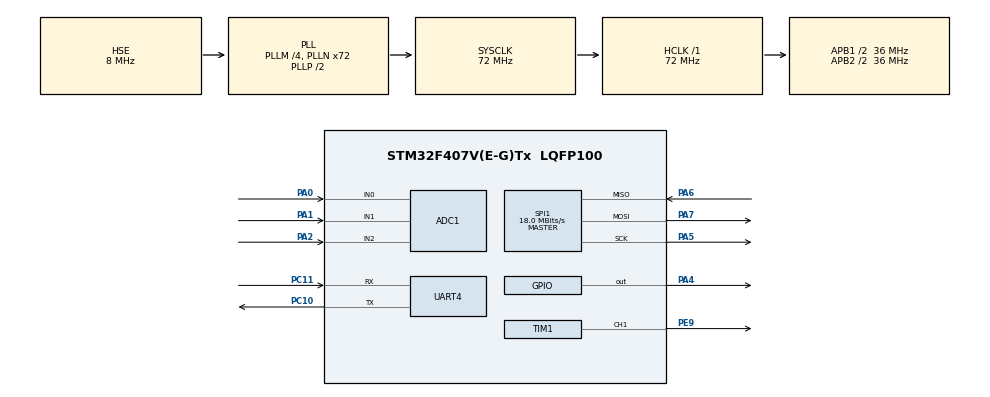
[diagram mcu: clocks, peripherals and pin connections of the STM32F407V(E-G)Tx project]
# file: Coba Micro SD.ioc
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ADC1.Channel-0\#ChannelRegularConversion=ADC_CHANNEL_0
ADC1.Channel-1\#ChannelRegularConversion=ADC_CHANNEL_1
ADC1.Channel-2\#ChannelRegularConversion=ADC_CHANNEL_2
ADC1.ClockPrescaler=ADC_CLOCK_SYNC_PCLK_DIV4
ADC1.ContinuousConvMode=ENABLE
ADC1.DMAContinuousRequests=ENABLE
ADC1.NbrOfConversion=3
ADC1.NbrOfConversionFlag=1
ADC1.Rank-0\#ChannelRegularConversion=1
ADC1.Rank-1\#ChannelRegularConversion=2
ADC1.Rank-2\#ChannelRegularConversion=3
ADC1.SamplingTime-0\#ChannelRegularConversion=ADC_SAMPLETIME_480CYCLES
ADC1.SamplingTime-1\#ChannelRegularConversion=ADC_SAMPLETIME_480CYCLES
ADC1.SamplingTime-2\#ChannelRegularConversion=ADC_SAMPLETIME_480CYCLES
ADC1.ScanConvMode=ENABLE
ADC1.master=1
Dma.ADC1.0.Direction=DMA_PERIPH_TO_MEMORY
Dma.ADC1.0.FIFOMode=DMA_FIFOMODE_DISABLE
Dma.ADC1.0.Instance=DMA2_Stream0
Dma.ADC1.0.MemDataAlignment=DMA_MDATAALIGN_WORD
Dma.ADC1.0.MemInc=DMA_MINC_ENABLE
Dma.ADC1.0.Mode=DMA_CIRCULAR
Dma.ADC1.0.PeriphDataAlignment=DMA_PDATAALIGN_WORD
Dma.ADC1.0.PeriphInc=DMA_PINC_DISABLE
Dma.ADC1.0.Priority=DMA_PRIORITY_LOW
Dma.Request0=ADC1
Mcu.Family=STM32F4
Mcu.Name=STM32F407V(E-G)Tx
Mcu.Package=LQFP100
NVIC.DMA2_Stream0_IRQn=true\:0\:0\:false\:false\:true\:false\:true
NVIC.PriorityGroup=NVIC_PRIORITYGROUP_4
PA0-WKUP.Signal=ADCx_IN0
PA1.Signal=ADCx_IN1
PA13.Mode=Serial_Wire
PA13.Signal=SYS_JTMS-SWDIO
PA14.Mode=Serial_Wire
PA14.Signal=SYS_JTCK-SWCLK
PA2.Signal=ADCx_IN2
PA4.GPIO_PuPd=GPIO_PULLUP
PA4.Signal=GPIO_Output
PA5.GPIO_PuPd=GPIO_PULLUP
PA5.Mode=Full_Duplex_Master
PA5.Signal=SPI1_SCK
PA6.GPIO_PuPd=GPIO_PULLUP
PA6.Mode=Full_Duplex_Master
PA6.Signal=SPI1_MISO
PA7.GPIO_PuPd=GPIO_PULLUP
PA7.Mode=Full_Duplex_Master
PA7.Signal=SPI1_MOSI
PC10.Mode=Asynchronous
PC10.Signal=UART4_TX
PC11.Mode=Asynchronous
PC11.Signal=UART4_RX
PE9.Signal=S_TIM1_CH1
PH0-OSC_IN.Mode=HSE-External-Oscillator
PH0-OSC_IN.Signal=RCC_OSC_IN
PH1-OSC_OUT.Mode=HSE-External-Oscillator
PH1-OSC_OUT.Signal=RCC_OSC_OUT
ProjectManager.HeapSize=0x200
ProjectManager.StackSize=0x400
ProjectManager.TargetToolchain=STM32CubeIDE
RCC.48MHZClocksFreq_Value=36000000
RCC.AHBFreq_Value=72000000
RCC.APB1CLKDivider=RCC_HCLK_DIV2
RCC.APB1Freq_Value=36000000
RCC.APB1TimFreq_Value=72000000
RCC.APB2CLKDivider=RCC_HCLK_DIV2
RCC.APB2Freq_Value=36000000
RCC.APB2TimFreq_Value=72000000
RCC.CortexFreq_Value=72000000
RCC.HCLKFreq_Value=72000000
RCC.HSE_VALUE=8000000
RCC.HSI_VALUE=16000000
RCC.LSE_VALUE=32768
RCC.PLLM=4
RCC.PLLN=72
RCC.PLLSourceVirtual=RCC_PLLSOURCE_HSE
RCC.SYSCLKFreq_VALUE=72000000
RCC.SYSCLKSource=RCC_SYSCLKSOURCE_PLLCLK
RCC.VCOOutputFreq_Value=144000000
SH.ADCx_IN0.0=ADC1_IN0,IN0
SH.ADCx_IN1.0=ADC1_IN1,IN1
SH.ADCx_IN2.0=ADC1_IN2,IN2
SH.S_TIM1_CH1.0=TIM1_CH1,PWM Generation1 CH1
SPI1.CalculateBaudRate=18.0 MBits/s
SPI1.Direction=SPI_DIRECTION_2LINES
SPI1.Mode=SPI_MODE_MASTER
SPI1.VirtualType=VM_MASTER
TIM1.Channel-PWM\ Generation1\ CH1=TIM_CHANNEL_1
TIM1.Period=999
TIM1.Prescaler=71
TIM1.RepetitionCounter=3
UART4.VirtualMode=Asynchronous
VP_FATFS_VS_Generic.Mode=User_defined
VP_TIM1_VS_ClockSourceINT.Mode=Internal
board=custom

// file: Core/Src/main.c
/* USER CODE BEGIN Header */
/**
  ******************************************************************************
  * @file           : main.c
  * @brief          : Main program body
  ******************************************************************************
  * @attention
  *
  * Copyright (c) 2023 STMicroelectronics.
  * All rights reserved.
  *
  * This software is licensed under terms that can be found in the LICENSE file
  * in the root directory of this software component.
  * If no LICENSE file comes with this software, it is provided AS-IS.
  *
  ******************************************************************************
  */
/* USER CODE END Header */
#include "main.h"
#include "adc.h"
#include "dma.h"
#include "fatfs.h"
#include "spi.h"
#include "tim.h"
#include "usart.h"
#include "gpio.h"

/* USER CODE BEGIN Includes */
#include "stm32f4xx_hal.h"
#include <stdio.h>
#include <string.h>
#include <stdarg.h> //for va_list var arg functions
/* USER CODE END Includes */

/* USER CODE BEGIN PV */
char buffer[100];
uint32_t my_adc[3];
float my_adc_1, my_adc_2, my_adc_3;
/* USER CODE END PV */

void SystemClock_Config(void);
/* USER CODE BEGIN PFP */
void myprintf(const char *fmt, ...);
/* USER CODE END PFP */

/* USER CODE BEGIN 0 */
int value1, value2, DAC_OUT;
float Vout=0.00;
uint32_t startTime, lastTime, diffTime;
//char *stringku[12];

/* USER CODE END 0 */

int main(void)
{
  /* USER CODE BEGIN 1 */
	FATFS FatFs; //Fatfs object
	FIL fil; //File object
  /* USER CODE END 1 */

  /* MCU Configuration--------------------------------------------------------*/

  /* Reset of all peripherals, Initializes the Flash interface and the Systick. */
  HAL_Init();

  /* Configure the system clock */
  SystemClock_Config();

  /* Initialize all configured peripherals */
  MX_GPIO_Init();
  MX_SPI1_Init();
  MX_FATFS_Init();
  MX_UART4_Init();
  MX_TIM1_Init();
  MX_ADC1_Init();
  MX_DMA_Init();
  /* USER CODE BEGIN 2 */
  HAL_ADC_Start_DMA(&hadc1, my_adc, 3);

  HAL_TIM_PWM_Start(&htim1, TIM_CHANNEL_1);

//  https://github.com/kiwih/cubemx-mmc-sd-card/blob/master/Src/main.c
	myprintf("\r\n\r\n(Powering up)\r\nMary had a little lamb --\r\nI ate it with mint sauce.\r\n\r\n");
//	HAL_Delay(1000);
	FRESULT fres;

	//Mount drive
	fres = f_mount(&FatFs, "", 1); //1=mount now
	myprintf("stat = (%i)\r\n",fres);
	if (fres != FR_OK) {
	myprintf("f_mount error (%i)\r\n", fres);
//	while(1);
	}
	else{
	myprintf("SD CARD mounted successfully...\n\n");
	}
	//

	/* Check free space */
	DWORD free_clusters, free_sectors, total_sectors;
	FATFS* getFreeFs;
	fres = f_getfree("", &free_clusters, &getFreeFs);

	if (fres != FR_OK) {
	myprintf("f_getfree error (%i)\r\n", fres);
//	while(1);
	}
	else{
	total_sectors = (getFreeFs->n_fatent - 2) * getFreeFs->csize;
	free_sectors = free_clusters * getFreeFs->csize;

	myprintf("SD card stats:\r\n%10lu KiB total drive space.\r\n%10lu KiB available.\r\n", total_sectors / 2, free_sectors / 2);
	}

	//Try to open file
	fres = f_open(&fil, "test.txt", FA_READ);
	if (fres != FR_OK) {
	myprintf("f_open error (%i)\r\n");
//	while(1);
	}
	else{
	myprintf("I was able to open 'test.txt' for reading!\r\n");
	}

	BYTE readBuf[30];
	BYTE stringKirim[50];

	//We can either use f_read OR f_gets to get data out of files
	//f_gets is a wrapper on f_read that does some string formatting for us
	TCHAR* rres = f_gets((TCHAR*)readBuf, 30, &fil);
	if(rres != 0) {
	myprintf("Read string from 'test.txt' contents: %s\r\n", readBuf);
	} else {
	myprintf("f_gets error (%i)\r\n", fres);
	}

	//Close file, don't forget this!
	f_close(&fil);

	fres = f_open(&fil, "write.txt", FA_WRITE | FA_OPEN_ALWAYS | FA_CREATE_ALWAYS);
	if(fres == FR_OK) {
	myprintf("I was able to open 'write.txt' for writing\r\n");
	} else {
	myprintf("f_open error (%i)\r\n", fres);
	}

	startTime = HAL_GetTick();
  /* USER CODE END 2 */

  /* Infinite loop */
  while (1)
  {

    /* USER CODE BEGIN 3 */
//	  HAL_ADC_Start(&hadc1);
//	  HAL_ADC_PollForConversion(&hadc1, HAL_MAX_DELAY);
//	  value1 = HAL_ADC_GetValue(&hadc1);
	  value1= 0;
	  Vout = value1*9.75/4096;
	  DAC_OUT=4096-value1;
//	  HAL_ADC_Start(&hadc2);
//	  HAL_ADC_PollForConversion(&hadc2, HAL_MAX_DELAY);
//	  value2 = HAL_ADC_GetValue(&hadc2);

	  uint16_t PWM_OUT = value1*999/4096;
	  htim1.Instance->CCR1 = PWM_OUT ;

	  diffTime = HAL_GetTick() - startTime; // dalam ms
//	  stringku[12] = "asd";
//	  strncpy((char*)readBuf, " 12345 ", 19);
//	  strncpy((char*)readBuf, "abc", 19);
//	  stringku = "012345abc ";
//	  myprintf("readbuf = %s ",readBuf);
	  UINT bytesWrote;
//	  fres = f_write(&fil, readBuf, 19, &bytesWrote);
	  char dest[] = "abc";
	  char source[] = "123";
	  strcat((char*)dest,source);
	  fres = f_write(&fil, dest, 15, &bytesWrote);

	  if(fres == FR_OK) {
		myprintf("Successful write data %i \r\n", bytesWrote);
	  } else {
		myprintf("f_write error (%i)\r\n");
	  }

//	  HAL_Delay(10);
//	  lastTime = startTime;

	  if(diffTime > 5000)
	  {
	  //Close file, don't forget this!
	  f_close(&fil);

	  //De-mount drive
	  f_mount(NULL, "", 0);
//	  while(1);
	  }

//	  while(1);

  }
  /* USER CODE END 3 */
}

void SystemClock_Config(void)
{
  RCC_OscInitTypeDef RCC_OscInitStruct = {0};
  RCC_ClkInitTypeDef RCC_ClkInitStruct = {0};

  /** Configure the main internal regulator output voltage
  */
  __HAL_RCC_PWR_CLK_ENABLE();
  __HAL_PWR_VOLTAGESCALING_CONFIG(PWR_REGULATOR_VOLTAGE_SCALE1);
  /** Initializes the RCC Oscillators according to the specified parameters
  * in the RCC_OscInitTypeDef structure.
  */
  RCC_OscInitStruct.OscillatorType = RCC_OSCILLATORTYPE_HSE;
  RCC_OscInitStruct.HSEState = RCC_HSE_ON;
  RCC_OscInitStruct.PLL.PLLState = RCC_PLL_ON;
  RCC_OscInitStruct.PLL.PLLSource = RCC_PLLSOURCE_HSE;
  RCC_OscInitStruct.PLL.PLLM = 4;
  RCC_OscInitStruct.PLL.PLLN = 72;
  RCC_OscInitStruct.PLL.PLLP = RCC_PLLP_DIV2;
  RCC_OscInitStruct.PLL.PLLQ = 4;
  if (HAL_RCC_OscConfig(&RCC_OscInitStruct) != HAL_OK)
  {
    Error_Handler();
  }
  /** Initializes the CPU, AHB and APB buses clocks
  */
  RCC_ClkInitStruct.ClockType = RCC_CLOCKTYPE_HCLK|RCC_CLOCKTYPE_SYSCLK
                              |RCC_CLOCKTYPE_PCLK1|RCC_CLOCKTYPE_PCLK2;
  RCC_ClkInitStruct.SYSCLKSource = RCC_SYSCLKSOURCE_PLLCLK;
  RCC_ClkInitStruct.AHBCLKDivider = RCC_SYSCLK_DIV1;
  RCC_ClkInitStruct.APB1CLKDivider = RCC_HCLK_DIV2;
  RCC_ClkInitStruct.APB2CLKDivider = RCC_HCLK_DIV2;

  if (HAL_RCC_ClockConfig(&RCC_ClkInitStruct, FLASH_LATENCY_2) != HAL_OK)
  {
    Error_Handler();
  }
}

/* USER CODE BEGIN 4 */
void HAL_ADC_ConvCpltCallback(ADC_HandleTypeDef* hadc)
{
	if(hadc->Instance == ADC1)
	{
		my_adc_1 = my_adc[0];
		my_adc_2 = my_adc[1];
		my_adc_3 = my_adc[2];
	}

}

void myprintf(const char *fmt, ...) {
  va_list args;
  va_start(args, fmt);
  vsnprintf(buffer, sizeof(buffer), fmt, args);
  va_end(args);

  int len = strlen(buffer);
  HAL_UART_Transmit(&huart4, (uint8_t*)buffer, len, 1000);

}
/* USER CODE END 4 */

void Error_Handler(void)
{
  __disable_irq();
  while (1)
  {
  }
}
